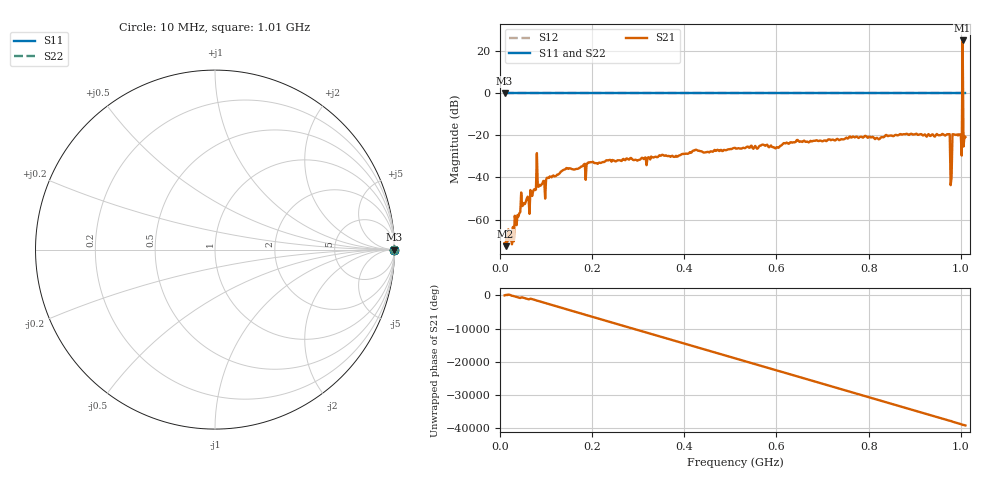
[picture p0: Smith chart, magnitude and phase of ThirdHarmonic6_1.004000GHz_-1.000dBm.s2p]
! 8/16/2025 8:09:50 AM
! C:\ANRITSUVNA\TEMP\TEMP.S2P
! CHANNEL.1
! TR.MEASUREMENT
! RAW.DATA
! RF.CORRECTION.OFF
! AVERAGING.OFF
! IF.BANDWIDTH: 5KHZ
! SWEEPTYPE:  FREQ.SWEEP(Linear)
! Reference Plane Port Info
! PORT:  PORT1  PORT2
! DISTANCE:  0  m  0  m
! TIME:  0  s  0  s
! PHASE.OFFSET:  0  deg.  0  deg.
! LOSS:  0  dB  0  dB
! REF.LOSS:  0  dB  0  dB
! REF.FREQ:  0  Hz  0  Hz
! Power Info
! POWER:  -20  dBm  -20  dBm
! EFF.POWER:  -20  dBm  -20  dBm
! SOURCE.ATTEN:  0  dB  0  dB
! TEST.ATTEN:  0  dB  0  dB
# GHZ S RI R 50.0
! FREQ.GHZ  S11RE  S11IM  S21RE  S21IM  S12RE  S12IM  S22RE  S22IM
!; PortSelection: Port_12
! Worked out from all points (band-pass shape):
!   501 points, 10 MHz to 1.01 GHz, reference 50 ohm
!   highest |S21| = 25.11 dB at 1.004 GHz (marker M1); lowest = -72.6 dB at 12 MHz (marker M2)
!   |S21| within 3 dB of the highest: 1.00389 GHz to 1.004119 GHz (228.7 kHz wide, 0.0228 % of centre)
!   lowest |S11| = 0.0 dB at 10 MHz (marker M3)
!   |S11| at or under -10 dB: nowhere
!   |S22| runs from 0.0 to 0.0 dB; largest |S21 - S12| = 17
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0.01  1 0  0.000193 -0.000197  1 0  1 0
0.012  1 0  0.000174 0.000156  1 0  1 0
0.026  1 0  -0.000254 -4.86e-05  1 0  1 0
0.042  1 0  0.00096 -0.00105  1 0  1 0
0.068  1 0  0.00329 -0.00218  1 0  1 0
0.076  1 0  0.00502 6.43e-05  1 0  1 0
0.094  1 0  0.00821 -0.00105  1 0  1 0
0.106  1 0  -0.00743 -0.00628  1 0  1 0
0.178  1 0  -0.0181 -0.00276  1 0  1 0
0.344  1 0  0.0306 -0.00911  1 0  1 0
0.51  1 0  -0.0422 0.0281  1 0  1 0
0.678  1 0  -0.0498 -0.0525  1 0  1 0
0.844  1 0  0.0962 0.0197  1 0  1 0
0.972  1 0  -0.0477 -0.0955  1 0  1 0
0.976  1 0  0.0199 0.1051  1 0  1 0
0.982  1 0  -0.1005 -0.0362  1 0  1 0
0.986  1 0  0.0847 0.0627  1 0  1 0
0.998  1 0  0.00405 -0.102  1 0  1 0
1  1 0  -0.1007 -0.0264  1 0  1 0
1.004  1 0  11.68 -13.7  1 0  1 0
1.008  1 0  -0.0737 -0.063  1 0  1 0
1.01  1 0  -0.0764 0.0503  1 0  1 0
